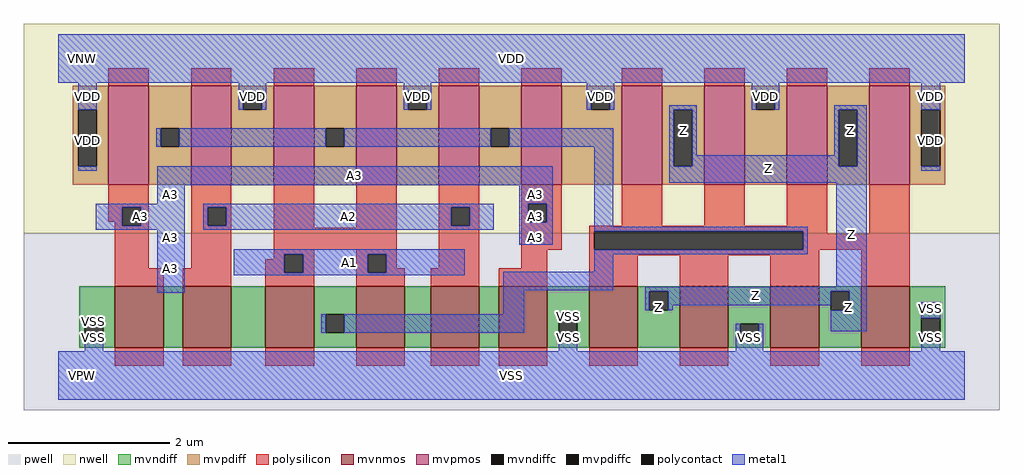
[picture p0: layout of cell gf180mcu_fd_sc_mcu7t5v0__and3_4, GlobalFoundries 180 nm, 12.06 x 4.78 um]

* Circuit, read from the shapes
.subckt gf180mcu_fd_sc_mcu7t5v0__and3_4 A1 A2 A3 Z VDD VNW VPW VSS
XM1 n1 A3 VSS VPW nfet_06v0 w=0.76u l=0.6u
XM2 n2 A2 n1 VPW nfet_06v0 w=0.76u l=0.6u
XM3 n3 A1 n2 VPW nfet_06v0 w=0.76u l=0.6u
XM4 n4 A1 n3 VPW nfet_06v0 w=0.76u l=0.6u
XM5 n5 A2 n4 VPW nfet_06v0 w=0.76u l=0.6u
XM6 VSS A3 n5 VPW nfet_06v0 w=0.76u l=0.6u
XM7 Z n3 VSS VPW nfet_06v0 w=0.76u l=0.6u m=4
XM8 n3 A3 VDD VNW pfet_06v0 w=1.22u l=0.5u m=2
XM9 VDD A2 n3 VNW pfet_06v0 w=1.22u l=0.5u m=2
XM10 n3 A1 VDD VNW pfet_06v0 w=1.22u l=0.5u m=2
XM11 Z n3 VDD VNW pfet_06v0 w=1.22u l=0.5u m=4
.ends

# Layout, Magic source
magic
tech gf180mcuD
magscale 1 10
<< nwell >>
rect -86 352 2326 870
<< pwell >>
rect -86 -86 2326 352
<< mvnmos >>
rect 140 69 260 221
rect 308 69 428 221
rect 512 69 632 221
rect 736 69 856 221
rect 920 69 1040 221
rect 1088 69 1208 221
rect 1312 69 1432 221
rect 1536 69 1656 221
rect 1760 69 1880 221
rect 1984 69 2104 221
<< mvpmos >>
rect 124 472 224 716
rect 328 472 428 716
rect 532 472 632 716
rect 736 472 836 716
rect 940 472 1040 716
rect 1144 472 1244 716
rect 1392 472 1492 716
rect 1596 472 1696 716
rect 1800 472 1900 716
rect 2004 472 2104 716
<< mvndiff >>
rect 52 128 140 221
rect 52 82 65 128
rect 111 82 140 128
rect 52 69 140 82
rect 260 69 308 221
rect 428 69 512 221
rect 632 152 736 221
rect 632 106 661 152
rect 707 106 736 152
rect 632 69 736 106
rect 856 69 920 221
rect 1040 69 1088 221
rect 1208 142 1312 221
rect 1208 96 1237 142
rect 1283 96 1312 142
rect 1208 69 1312 96
rect 1432 208 1536 221
rect 1432 162 1461 208
rect 1507 162 1536 208
rect 1432 69 1536 162
rect 1656 128 1760 221
rect 1656 82 1685 128
rect 1731 82 1760 128
rect 1656 69 1760 82
rect 1880 208 1984 221
rect 1880 162 1909 208
rect 1955 162 1984 208
rect 1880 69 1984 162
rect 2104 142 2192 221
rect 2104 96 2133 142
rect 2179 96 2192 142
rect 2104 69 2192 96
<< mvpdiff >>
rect 36 657 124 716
rect 36 517 49 657
rect 95 517 124 657
rect 36 472 124 517
rect 224 611 328 716
rect 224 565 253 611
rect 299 565 328 611
rect 224 472 328 565
rect 428 703 532 716
rect 428 657 457 703
rect 503 657 532 703
rect 428 472 532 657
rect 632 611 736 716
rect 632 565 661 611
rect 707 565 736 611
rect 632 472 736 565
rect 836 703 940 716
rect 836 657 865 703
rect 911 657 940 703
rect 836 472 940 657
rect 1040 611 1144 716
rect 1040 565 1069 611
rect 1115 565 1144 611
rect 1040 472 1144 565
rect 1244 703 1392 716
rect 1244 657 1317 703
rect 1363 657 1392 703
rect 1244 472 1392 657
rect 1492 657 1596 716
rect 1492 517 1521 657
rect 1567 517 1596 657
rect 1492 472 1596 517
rect 1696 703 1800 716
rect 1696 657 1725 703
rect 1771 657 1800 703
rect 1696 472 1800 657
rect 1900 657 2004 716
rect 1900 517 1929 657
rect 1975 517 2004 657
rect 1900 472 2004 517
rect 2104 657 2192 716
rect 2104 517 2133 657
rect 2179 517 2192 657
rect 2104 472 2192 517
<< mvndiffc >>
rect 65 82 111 128
rect 661 106 707 152
rect 1237 96 1283 142
rect 1461 162 1507 208
rect 1685 82 1731 128
rect 1909 162 1955 208
rect 2133 96 2179 142
<< mvpdiffc >>
rect 49 517 95 657
rect 253 565 299 611
rect 457 657 503 703
rect 661 565 707 611
rect 865 657 911 703
rect 1069 565 1115 611
rect 1317 657 1363 703
rect 1521 517 1567 657
rect 1725 657 1771 703
rect 1929 517 1975 657
rect 2133 517 2179 657
<< polysilicon >>
rect 124 716 224 760
rect 328 716 428 760
rect 532 716 632 760
rect 736 716 836 760
rect 940 716 1040 760
rect 1144 716 1244 760
rect 1392 716 1492 760
rect 1596 716 1696 760
rect 1800 716 1900 760
rect 2004 716 2104 760
rect 124 416 224 472
rect 124 380 158 416
rect 140 370 158 380
rect 204 370 224 416
rect 140 265 224 370
rect 328 416 428 472
rect 328 370 369 416
rect 415 370 428 416
rect 328 265 428 370
rect 532 365 632 472
rect 736 365 836 472
rect 532 311 836 365
rect 532 300 632 311
rect 532 288 559 300
rect 140 221 260 265
rect 308 221 428 265
rect 512 254 559 288
rect 605 254 632 300
rect 512 221 632 254
rect 736 300 836 311
rect 736 254 765 300
rect 811 265 836 300
rect 940 416 1040 472
rect 940 370 971 416
rect 1017 370 1040 416
rect 940 265 1040 370
rect 1144 425 1244 472
rect 1144 379 1161 425
rect 1207 379 1244 425
rect 1144 311 1244 379
rect 1392 370 1492 472
rect 1596 370 1696 472
rect 1800 370 1900 472
rect 1312 357 1900 370
rect 1312 311 1325 357
rect 1841 351 1900 357
rect 2004 351 2104 472
rect 1841 311 2104 351
rect 1144 265 1208 311
rect 811 254 856 265
rect 736 221 856 254
rect 920 221 1040 265
rect 1088 221 1208 265
rect 1312 298 1880 311
rect 1312 221 1432 298
rect 1536 221 1656 298
rect 1760 221 1880 298
rect 1984 221 2104 311
rect 140 24 260 69
rect 308 24 428 69
rect 512 24 632 69
rect 736 24 856 69
rect 920 24 1040 69
rect 1088 24 1208 69
rect 1312 24 1432 69
rect 1536 24 1656 69
rect 1760 24 1880 69
rect 1984 24 2104 69
<< polycontact >>
rect 158 370 204 416
rect 369 370 415 416
rect 559 254 605 300
rect 765 254 811 300
rect 971 370 1017 416
rect 1161 379 1207 425
rect 1325 311 1841 357
<< metal1 >>
rect 0 724 2240 844
rect 49 657 95 724
rect 446 703 514 724
rect 446 657 457 703
rect 503 657 514 703
rect 854 703 922 724
rect 854 657 865 703
rect 911 657 922 703
rect 1306 703 1374 724
rect 1306 657 1317 703
rect 1363 657 1374 703
rect 1714 703 1782 724
rect 1510 657 1578 668
rect 1714 657 1725 703
rect 1771 657 1782 703
rect 1918 657 1998 668
rect 242 565 253 611
rect 299 565 661 611
rect 707 565 1069 611
rect 1115 565 1371 611
rect 49 506 95 517
rect 244 471 1222 517
rect 244 425 312 471
rect 1139 425 1222 471
rect 93 416 312 425
rect 93 370 158 416
rect 204 370 312 416
rect 93 360 312 370
rect 358 416 1076 425
rect 358 370 369 416
rect 415 370 971 416
rect 1017 370 1076 416
rect 358 360 1076 370
rect 1139 379 1161 425
rect 1207 379 1222 425
rect 244 205 312 360
rect 1139 324 1222 379
rect 1325 368 1371 565
rect 1510 517 1521 657
rect 1567 545 1578 657
rect 1918 545 1929 657
rect 1567 517 1929 545
rect 1975 517 1998 657
rect 1510 477 1998 517
rect 2133 657 2179 724
rect 2133 506 2179 517
rect 1325 357 1852 368
rect 433 300 1005 312
rect 433 254 559 300
rect 605 254 765 300
rect 811 254 1005 300
rect 1841 311 1852 357
rect 1325 300 1852 311
rect 1325 257 1371 300
rect 433 248 1005 254
rect 1100 211 1371 257
rect 1922 220 1998 477
rect 1100 152 1151 211
rect 1450 208 1998 220
rect 1450 162 1461 208
rect 1507 174 1909 208
rect 1507 162 1518 174
rect 1955 162 1998 208
rect 65 128 111 139
rect 650 106 661 152
rect 707 106 1151 152
rect 1237 142 1283 153
rect 65 60 111 82
rect 1237 60 1283 96
rect 1674 82 1685 128
rect 1731 82 1742 128
rect 1909 110 1998 162
rect 2133 142 2179 181
rect 1674 60 1742 82
rect 2133 60 2179 96
rect 0 -60 2240 60
<< labels >>
flabel metal1 s 358 360 1076 425 0 FreeSans 600 0 0 0 A2
port 2 nsew default input
flabel metal1 s 244 471 1222 517 0 FreeSans 600 0 0 0 A3
port 3 nsew default input
flabel metal1 s 0 724 2240 844 0 FreeSans 600 0 0 0 VDD
port 5 nsew power bidirectional abutment
flabel metal1 s 2133 153 2179 181 0 FreeSans 600 0 0 0 VSS
port 8 nsew ground bidirectional abutment
flabel metal1 s 1918 545 1998 668 0 FreeSans 600 0 0 0 Z
port 4 nsew default output
flabel metal1 s 433 248 1005 312 0 FreeSans 600 0 0 0 A1
port 1 nsew default input
flabel nwell s 10 734 110 834 0 FreeSans 400 0 0 0 VNW
port 6 nsew power bidirectional
flabel pwell s 10 -50 110 50 0 FreeSans 400 0 0 0 VPW
port 7 nsew ground bidirectional
rlabel metal1 s 1139 425 1222 471 1 A3
port 3 nsew default input
rlabel metal1 s 244 425 312 471 1 A3
port 3 nsew default input
rlabel metal1 s 1139 360 1222 425 1 A3
port 3 nsew default input
rlabel metal1 s 93 360 312 425 1 A3
port 3 nsew default input
rlabel metal1 s 1139 324 1222 360 1 A3
port 3 nsew default input
rlabel metal1 s 244 324 312 360 1 A3
port 3 nsew default input
rlabel metal1 s 244 205 312 324 1 A3
port 3 nsew default input
rlabel metal1 s 1510 545 1578 668 1 Z
port 4 nsew default output
rlabel metal1 s 1510 477 1998 545 1 Z
port 4 nsew default output
rlabel metal1 s 1922 220 1998 477 1 Z
port 4 nsew default output
rlabel metal1 s 1450 174 1998 220 1 Z
port 4 nsew default output
rlabel metal1 s 1909 162 1998 174 1 Z
port 4 nsew default output
rlabel metal1 s 1450 162 1518 174 1 Z
port 4 nsew default output
rlabel metal1 s 1909 110 1998 162 1 Z
port 4 nsew default output
rlabel metal1 s 2133 657 2179 724 1 VDD
port 5 nsew power bidirectional abutment
rlabel metal1 s 1714 657 1782 724 1 VDD
port 5 nsew power bidirectional abutment
rlabel metal1 s 1306 657 1374 724 1 VDD
port 5 nsew power bidirectional abutment
rlabel metal1 s 854 657 922 724 1 VDD
port 5 nsew power bidirectional abutment
rlabel metal1 s 446 657 514 724 1 VDD
port 5 nsew power bidirectional abutment
rlabel metal1 s 49 657 95 724 1 VDD
port 5 nsew power bidirectional abutment
rlabel metal1 s 2133 506 2179 657 1 VDD
port 5 nsew power bidirectional abutment
rlabel metal1 s 49 506 95 657 1 VDD
port 5 nsew power bidirectional abutment
rlabel metal1 s 2133 139 2179 153 1 VSS
port 8 nsew ground bidirectional abutment
rlabel metal1 s 1237 139 1283 153 1 VSS
port 8 nsew ground bidirectional abutment
rlabel metal1 s 2133 128 2179 139 1 VSS
port 8 nsew ground bidirectional abutment
rlabel metal1 s 1237 128 1283 139 1 VSS
port 8 nsew ground bidirectional abutment
rlabel metal1 s 65 128 111 139 1 VSS
port 8 nsew ground bidirectional abutment
rlabel metal1 s 2133 60 2179 128 1 VSS
port 8 nsew ground bidirectional abutment
rlabel metal1 s 1674 60 1742 128 1 VSS
port 8 nsew ground bidirectional abutment
rlabel metal1 s 1237 60 1283 128 1 VSS
port 8 nsew ground bidirectional abutment
rlabel metal1 s 65 60 111 128 1 VSS
port 8 nsew ground bidirectional abutment
rlabel metal1 s 0 -60 2240 60 1 VSS
port 8 nsew ground bidirectional abutment
<< properties >>
string FIXED_BBOX 0 0 2240 784
string GDS_END 1232786
string GDS_FILE $PDKPATH/libs.ref/gf180mcu_fd_sc_mcu7t5v0/gds/gf180mcu_fd_sc_mcu7t5v0.gds
string GDS_START 1227394
string LEFclass core
string LEFsite GF018hv5v_mcu_sc7
string LEFsymmetry X Y
<< end >>
